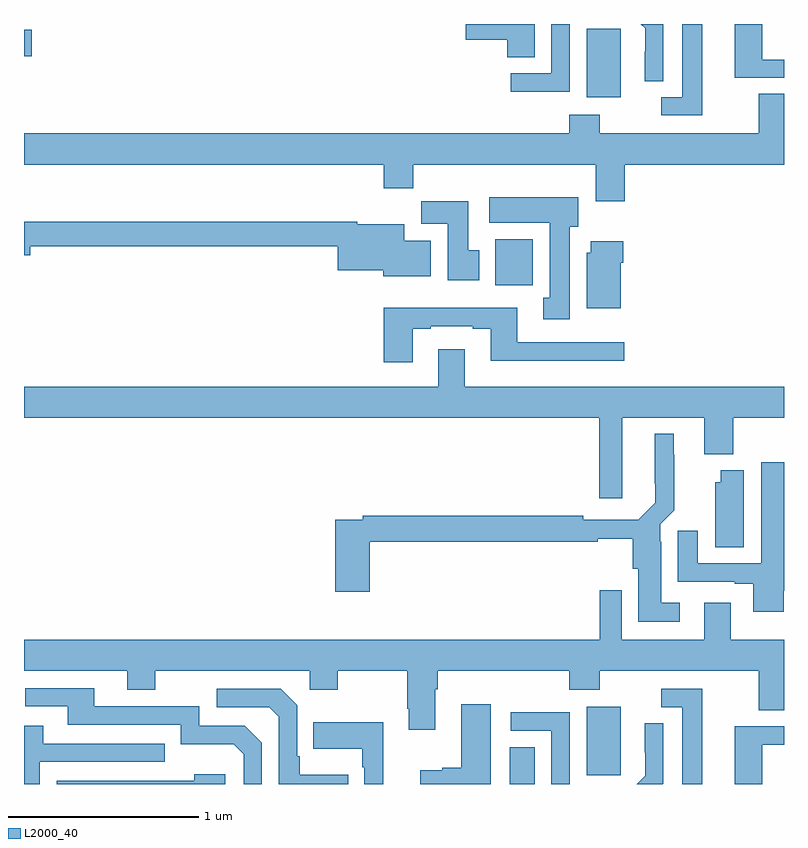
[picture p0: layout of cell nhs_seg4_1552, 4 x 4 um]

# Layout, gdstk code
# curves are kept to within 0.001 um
import gdstk
lib = gdstk.Library(unit=1e-6, precision=1e-09)
def R(c, l, rs):  # rectangles x0, y0, x1, y1
    for r in rs: c.add(gdstk.rectangle(r[:2], r[2:], *l))
def P(c, l, *ps):  # polygons
    for p in ps: c.add(gdstk.Polygon(p, *l))
L2000_40 = (2000, 40)

nhs_seg4_1552 = lib.new_cell('nhs_seg4_1552')
R(nhs_seg4_1552, L2000_40, [(193.556,786.9,193.687,787.094), (193.961,786.945,194.14,787.306), (193.481,789.524,193.678,789.766), (193.961,790.514,194.14,790.875), (191,790.729,191.041,790.871)])
P(nhs_seg4_1552, L2000_40, [(193.872,790.9),(193.776,790.9),(193.776,790.641),(193.563,790.641),(193.563,790.543),(193.872,790.543)],
  [(194.364,790.9),(194.247,790.9),(194.27,790.877),(194.27,790.754),(194.268,790.754),(194.268,790.6),(194.364,790.6)],
  [(194.569,790.9),(194.465,790.9),(194.465,790.515),(194.355,790.515),(194.355,790.419),(194.569,790.419)],
  [(193.687,790.9),(193.326,790.9),(193.326,790.817),(193.544,790.817),(193.544,790.726),(193.687,790.726)],
  [(195,790.713),(194.886,790.713),(194.886,790.9),(194.741,790.9),(194.741,790.617),(195,790.617)],
  [(194.162,790.16),(195,790.16),(195,790.532),(194.867,790.532),(194.867,790.324),(194.031,790.324),(194.031,790.423),(193.871,790.423),(193.871,790.324),(191,790.324),(191,790.16),(192.893,790.16),(192.893,790.036),(193.049,790.036),(193.049,790.16),(194.009,790.16),(194.009,789.966),(194.162,789.966)],
  [(193.873,789.834),(193.918,789.834),(193.918,789.988),(193.449,789.988),(193.449,789.854),(193.766,789.854),(193.766,789.458),(193.733,789.458),(193.733,789.345),(193.873,789.345)],
  [(193.396,789.708),(193.339,789.708),(193.339,789.967),(193.09,789.967),(193.09,789.848),(193.229,789.848),(193.229,789.552),(193.396,789.552)],
  [(193.141,789.76),(193,789.76),(193,789.847),(192.754,789.847),(192.754,789.859),(191,789.859),(191,789.683),(191.032,789.683),(191.032,789.73),(192.65,789.73),(192.65,789.605),(192.89,789.605),(192.89,789.572),(193.141,789.572)],
  [(194.14,789.644),(194.153,789.644),(194.153,789.757),(193.982,789.757),(193.982,789.696),(193.961,789.696),(193.961,789.404),(194.14,789.404)],
  [(193.045,789.297),(193.141,789.297),(193.141,789.309),(193.361,789.309),(193.361,789.297),(193.457,789.297),(193.457,789.128),(194.158,789.128),(194.158,789.225),(193.597,789.225),(193.597,789.406),(192.893,789.406),(192.893,789.12),(193.045,789.12)],
  [(194.149,788.828),(194.579,788.828),(194.579,788.636),(194.732,788.636),(194.732,788.828),(195,788.828),(195,788.992),(193.321,788.992),(193.321,789.187),(193.181,789.187),(193.181,788.992),(191,788.992),(191,788.828),(194.027,788.828),(194.027,788.403),(194.149,788.403)],
  [(194.452,787.855),(194.353,787.855),(194.353,788.174),(194.349,788.174),(194.349,788.268),(194.423,788.342),(194.423,788.633),(194.419,788.633),(194.419,788.743),(194.321,788.743),(194.322,788.38),(194.234,788.292),(193.943,788.292),(193.943,788.312),(192.784,788.312),(192.784,788.292),(192.638,788.292),(192.638,787.911),(192.821,787.911),(192.821,788.176),(194.02,788.176),(194.02,788.191),(194.204,788.191),(194.204,788.034),(194.234,788.034),(194.234,787.754),(194.452,787.754)],
  [(194.998,787.918),(195,787.918),(195,788.593),(194.879,788.593),(194.879,788.061),(194.545,788.061),(194.545,788.233),(194.441,788.233),(194.441,787.965),(194.741,787.965),(194.741,787.953),(194.837,787.953),(194.837,787.806),(194.998,787.806)],
  [(194.788,788.551),(194.666,788.551),(194.666,788.487),(194.639,788.487),(194.639,788.146),(194.788,788.146)],
  [(193.165,787.4),(193.178,787.4),(193.178,787.496),(193.871,787.496),(193.871,787.397),(194.031,787.397),(194.031,787.496),(194.867,787.496),(194.867,787.288),(195,787.288),(195,787.66),(194.719,787.66),(194.719,787.855),(194.579,787.855),(194.579,787.66),(194.145,787.66),(194.145,787.921),(194.029,787.921),(194.029,787.66),(191,787.66),(191,787.496),(191.543,787.496),(191.543,787.397),(191.691,787.397),(191.691,787.496),(192.504,787.496),(192.504,787.397),(192.651,787.397),(192.651,787.496),(193.018,787.496),(193.018,787.297),(193.025,787.297),(193.025,787.185),(193.165,787.185)],
  [(192.252,787.116),(192.162,787.206),(191.922,787.206),(191.922,787.308),(191.371,787.308),(191.371,787.404),(191.007,787.404),(191.007,787.308),(191.231,787.308),(191.231,787.212),(191.826,787.212),(191.826,787.109),(192.103,787.109),(192.156,787.056),(192.156,786.9),(192.252,786.9)],
  [(192.707,786.949),(192.451,786.949),(192.451,787.045),(192.438,787.045),(192.438,787.314),(192.351,787.401),(192.015,787.401),(192.015,787.305),(192.291,787.305),(192.342,787.254),(192.342,786.9),(192.707,786.9)],
  [(194.569,787.401),(194.355,787.401),(194.355,787.305),(194.465,787.305),(194.465,786.9),(194.569,786.9)],
  [(193.456,787.321),(193.301,787.321),(193.301,786.986),(193.202,786.986),(193.202,786.973),(193.086,786.973),(193.086,786.9),(193.456,786.9)],
  [(193.872,787.278),(193.563,787.278),(193.563,787.179),(193.776,787.179),(193.776,786.9),(193.872,786.9)],
  [(192.89,787.225),(192.523,787.225),(192.523,787.085),(192.78,787.085),(192.78,786.989),(192.792,786.989),(192.792,786.9),(192.89,786.9)],
  [(194.364,786.902),(194.364,787.22),(194.268,787.22),(194.268,787.066),(194.27,787.066),(194.27,786.944),(194.226,786.9),(194.362,786.9)],
  [(191.082,787.017),(191.741,787.017),(191.741,787.113),(191.101,787.113),(191.101,787.207),(191,787.207),(191,786.9),(191.082,786.9)],
  [(194.886,787.107),(195,787.107),(195,787.203),(194.741,787.203),(194.741,786.9),(194.886,786.9)],
  [(192.058,786.952),(191.897,786.952),(191.897,786.918),(191.172,786.918),(191.172,786.9),(192.058,786.9)])

lib.write_gds('nhs_seg4_1552.gds')
